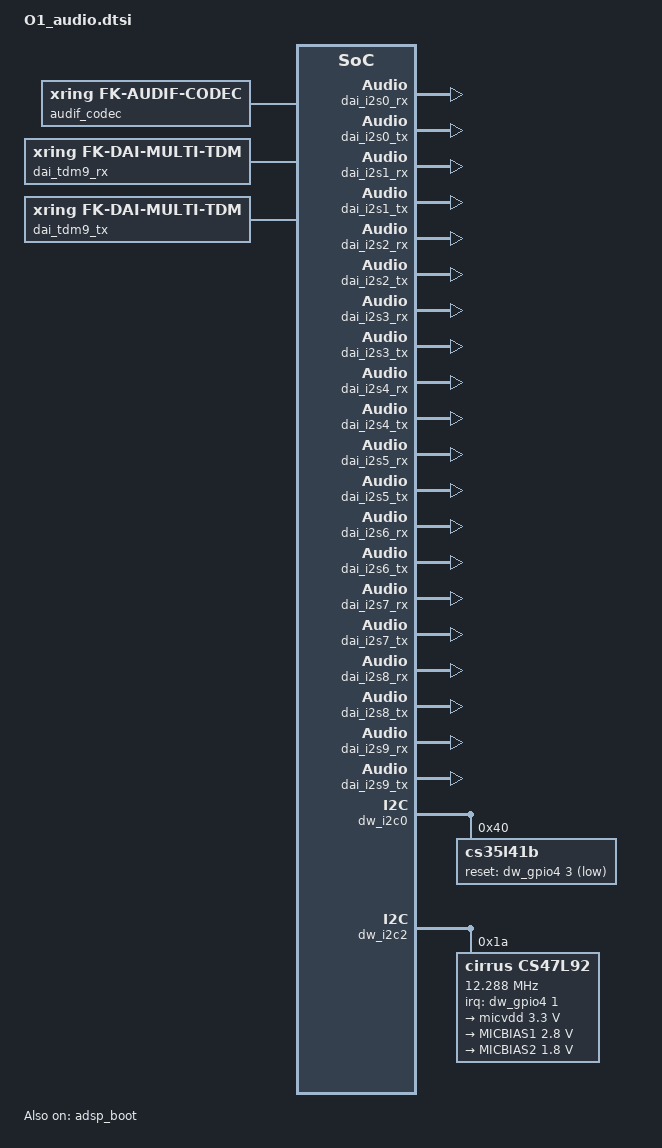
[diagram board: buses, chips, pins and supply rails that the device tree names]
// SPDX-License-Identifier: (GPL-2.0+ OR MIT)
/*
 * Copyright 2022 XiaoMi
 */
#include <dt-bindings/xring/platform-specific/asic/memory_layout.h>
#include <dt-bindings/interrupt-controller/arm-gic.h>
#include "O1_regulator.dtsi"
#include "O1_i2c.dtsi"
#include <dt-bindings/sound/madera.h>

&dw_i2c0 {
	cs35l41b: speaker@40 {
		status = "okay";
		compatible = "cs35l41b";
		reset-gpios = <&dw_gpio4 3 1>;
		reg = <0x40>;
		interrupt-parent = <&gic>;
		interrupts = <GIC_SPI 151 IRQ_TYPE_LEVEL_HIGH>;
	};
	/* BOT Smart PA */
	spk1: cs35l43@40 {
		status = "disabled";
		compatible = "cirrus,cs35l43";
		#sound-dai-cells = <0>;
		reg = <0x40>;
		reset-gpios = <&dw_gpio4 3 0>;
		irq-gpio = <&dw_gpio3 31 0x0>;
		#interrupt-parent = <&dw_gpio3>;
		#interrupts = <31 IRQ_TYPE_LEVEL_LOW>;
		VA-supply = <&mldo8>;
		sound-channel = <0>;
		sound-name-prefix = "B";
		cirrus,i2c-addr = <40>;
		cirrus,bst-ipk-ma = <4000>;
		cirrus,asp-sdout-hiz = <3>;
		cirrus,low-pwr-mode-standby = <1>;
		cirrus,vpbr-enable = <1>;
		cirrus,vpbr-rel-rate = <0>;
		cirrus,vpbr-wait = <0>;
		cirrus,vpbr-atk-rate = <0>;
		cirrus,vpbr-atk-vol = <0x5>;
		cirrus,vpbr-max-att = <0x3>;
		cirrus,vpbr-thld = <0x8>;
		cirrus,gpio2-src-sel = <2>;
	};
	/* TOP Smart PA */
	spk2: cs35l43@42 {
		status = "disabled";
		compatible = "cirrus,cs35l43";
		#sound-dai-cells = <0>;
		reg = <0x42>;
		reset-gpios = <&dw_gpio4 3 0>;
		irq-gpio = <&dw_gpio4 0 0x0>;
		#interrupt-parent = <&dw_gpio4>;
		#interrupts = <0 IRQ_TYPE_LEVEL_LOW>;
		VA-supply = <&mldo8>;
		sound-channel = <1>;
		sound-name-prefix = "T";
		cirrus,i2c-addr = <42>;
		cirrus,bst-ipk-ma = <4000>;
		cirrus,asp-sdout-hiz = <3>;
		cirrus,low-pwr-mode-standby = <1>;
		cirrus,vpbr-enable = <1>;
		cirrus,vpbr-rel-rate = <0>;
		cirrus,vpbr-wait = <0>;
		cirrus,vpbr-atk-rate = <0>;
		cirrus,vpbr-atk-vol = <0x5>;
		cirrus,vpbr-max-att = <0x3>;
		cirrus,vpbr-thld = <0x8>;
		cirrus,gpio2-src-sel = <2>;
    };
	spk3: cs35l43@41 {
		status = "disabled";
		compatible = "cirrus,cs35l43";
		#sound-dai-cells = <0>;
		reg = <0x41>;
		VA-supply = <&mldo8>;
	};
	spk4: cs35l43@43 {
		status = "disabled";
		compatible = "cirrus,cs35l43";
		#sound-dai-cells = <0>;
		reg = <0x43>;
		VA-supply = <&mldo8>;
	};
	cs35l45_1: cs35l45@30 {
		status = "disabled";
		compatible = "cirrus,cs35l45";
		#sound-dai-cells = <0>;
		reg = <0x30>;
		VA-supply = <&mldo7>;
	};
	cs35l45_2: cs35l45@31 {
		status = "disabled";
		compatible = "cirrus,cs35l45";
		#sound-dai-cells = <0>;
		reg = <0x31>;
		VA-supply = <&mldo7>;
	};

	/* haptic */
	haptic1: cs40l26@43 {
		status = "disabled";
		compatible = "cirrus,cs40l26a";
		reg = <0x43>;
		reset-gpios = <&dw_gpio3 24 1>;
		irq-gpio = <&dw_gpio1 14 0x0>;
		interrupt-parent = <&dw_gpio1>;
		interrupts = <14 IRQ_TYPE_LEVEL_LOW>;
		VA-supply = <&mldo8>;
		//cirrus,vbbr-enable;
		cirrus,vbbr-thld-uv = <273000>;
		cirrus,vbbr-max-att-db = <9>;
		cirrus,vbbr-atk-step = <1>;
		cirrus,vbbr-atk-rate = <2>;
		cirrus,vbbr-wait = <1>;
		cirrus,vbbr-rel-rate = <5>;

		//cirrus,vpbr-enable;
		cirrus,vpbr-thld-uv = <2639000>;
		cirrus,vpbr-max-att-db = <9>;
		cirrus,vpbr-atk-step = <1>;
		cirrus,vpbr-atk-rate = <2>;
		cirrus,vpbr-wait = <1>;
		cirrus,vpbr-rel-rate = <5>;

		//cirrus,bst-dcm-en;

		cirrus,bst-ipk-microamp = <4500000>;
	};
};

&dw_i2c1 {
	spk5: cs35l43@40 {
		status = "disabled";
		compatible = "cirrus,cs35l43";
		#sound-dai-cells = <0>;
		reg = <0x40>;
		VA-supply = <&mldo8>;
	};
	spk6: cs35l43@42 {
		status = "disabled";
		compatible = "cirrus,cs35l43";
		#sound-dai-cells = <0>;
		reg = <0x42>;
		VA-supply = <&mldo8>;
	};
	spk7: cs35l43@41 {
		status = "disabled";
		compatible = "cirrus,cs35l43";
		#sound-dai-cells = <0>;
		reg = <0x41>;
		VA-supply = <&mldo8>;
	};
	spk8: cs35l43@43 {
		status = "disabled";
		compatible = "cirrus,cs35l43";
		#sound-dai-cells = <0>;
		reg = <0x43>;
		VA-supply = <&mldo8>;
	};
	cs35l45_3: cs35l45@32 {
		status = "disabled";
		compatible = "cirrus,cs35l45";
		#sound-dai-cells = <0>;
		reg = <0x32>;
		VA-supply = <&mldo7>;
	};
	cs35l45_4: cs35l45@33 {
		status = "disabled";
		compatible = "cirrus,cs35l45";
		#sound-dai-cells = <0>;
		reg = <0x33>;
		VA-supply = <&mldo7>;
	};
};

&dw_i2c2 {
	cs47l92: codec@1a {
		status = "okay";
		compatible = "cirrus,cs47l92";
		reg = <0x1a>;
		#address-cells = <1>;
		#size-cells = <0>;

		//codec-reset-gpios = <&dw_gpio4 4 1>;
		interrupt-parent = <&dw_gpio4>;
		interrupts = <1 IRQ_TYPE_LEVEL_HIGH>;
		interrupt-controller;
		#interrupt-cells = <1>;

		clock-frequency = <12288000>, <32764>;
		clocks = <&xr_clk XR_CLK_CODEC>,
			<&xr_clk XR_CLK_32K_O3>;
		clock-names = "mclk1", "mclk2";

		AVDD-supply = <1>;
		DBVDD1-supply = <1>;
		DCVDD-supply = <1>;

		pinctrl-names = "default";
		pinctrl-0 = <&pinsettings>;
		pinsettings: pin-settings {
			aif1-pins {
				groups = "aif1";
				function = "aif1";
				bias-bus-hold;
			};
		};

		micvdd {
			regulator-min-microvolt = <3300000>;
			regulator-max-microvolt = <3300000>;
		};
		MICBIAS1 {
			cirrus,ext-cap = <0>;
			regulator-active-discharge = <1>;
			regulator-min-microvolt = <2800000>;
			regulator-max-microvolt = <2800000>;
		};
		MICBIAS2 {
			cirrus,ext-cap = <0>;
			regulator-active-discharge = <1>;
			regulator-min-microvolt = <1800000>;
			regulator-max-microvolt = <1800000>;
		};

		cirrus,accdet {
			#address-cells = <1>;
			#size-cells = <0>;
			acc@1 {
				reg = <1>;

				cirrus,micd-bias-start-time = <0x1>;
				cirrus,micd-pol-gpios = <0>;
				cirrus,micd-rate = <0x7>;
				cirrus,micd-detect-debounce-ms = <300>;
				cirrus,micd-clamp-mode = <0x0>;
				//cirrus,jd-use-jd2 = <0>;
				cirrus,hs-mic = <1>;

				cirrus,init-delay-ms = <30>;
				cirrus,micd-dbtime = <0x1>;
				cirrus,micd-timeout-ms = <1000>;
				cirrus,micd-force-micbias;
				cirrus,hpdet-short-circuit-imp = <2>;
				cirrus,micd-ranges = <
						116 226
						173 582
						321 115
						752 114
						1257 217
				>;
				cirrus,micd-software-compare;
				cirrus,micd-open-circuit-declare = <1>;
				//cirrus,jd-wake-time = <5000>;

				cirrus,hpdet-ext-res = <0>;

				/*MICDET1|MICDET2/HPOUTFB2|MICBIAS2A|micd-poll-gpio pin= NONE|HPGND=MICDET2*/
				cirrus,micd-configs = <0 1 4 0 1>;
				/*HPOUT1L|HPOUT1R*/
				cirrus,hpd-pins = <0 4 1 4>;
			};
		};
	};
};

&dw_i2c4 {
	/* haptic */
	haptic2: cs40l26@43 {
		status = "disabled";
		compatible = "cirrus,cs40l26a";
		reg = <0x43>;
		VA-supply = <&mldo8>;

	};
};

/ {
	pcm0: xring,fk-pcm {
		compatible = "xring,fk-pcm-dsp";
		xring,fk-pcm-dsp-id = <0>;
	};

	pcm1: xring,fk-fast-pcm {
		compatible = "xring,fk-pcm-dsp";
		xring,fk-pcm-dsp-id = <1>;
		xring,fk-fast-pcm;
	};

	pcm2: xring,fk-ultra-pcm {
		compatible = "xring,fk-pcm-dsp";
		xring,fk-pcm-dsp-id = <2>;
		xring,fk-ultra-pcm;
	};

	direct:xring,fk-direct-pcm {
		compatible = "xring,fk-pcm-dsp";
		xring,fk-pcm-dsp-id = <3>;
		xring,fk-direct-pcm;
	};

	voice: xring,fk-voice-dsp{
		compatible = "xring,fk-voice-dsp";
	};

	incall: xring,fk-incall-dsp{
		compatible = "xring,fk-incall-dsp";
	};

	loopback: xring,fk-loopback-dsp{
		compatible = "xring,fk-loopback-dsp";
	};

	routing: xring,fk-pcm-routing {
		compatible = "xring,fk-pcm-routing";
	};

	compress: xring,fk-compress {
		compatible = "xring,fk-compress-dsp";
	};

	voip: xring,fk-voip {
		compatible = "xring,fk-voip-dsp";
	};

	haptic: xring,fk-haptic {
		compatible = "xring,fk-haptic";
	};

	spatial: xring,fk-spatial {
		compatible = "xring,fk-spatial";
	};

	karaoke: xring,fk-karaoke {
		compatible = "xring,fk-karaoke";
	};

	hf: xring,fk-hf-dsp {
		compatible = "xring,fk-hf-dsp";
	};

	lsm: xring,fk-lsm {
		compatible = "xring,fk-lsm-dsp";
	};

	asr: xring,fk-asr {
		compatible = "xring,fk-pcm-dsp";
		xring,fk-pcm-dsp-id = <4>;
	};

	mmap: xring,fk-mmap {
		compatible = "xring,fk-mmap-dsp";
	};
	audif_codec: xring,fk-audif-codec {
		compatible = "xring,fk-audif-codec";
	};

	xring,fk-dai-fe {
		compatible = "xring,fk-dai-fe";
	};

	fk_dai_i2s: xring,fk-dai-i2s {
		compatible = "xring,fk-dai-i2s";
		dai_i2s0_rx: xring,fk-dai-multi-i2s-i2s0-rx {
			compatible = "xring,fk-dai-multi-i2s";
			xring,fk-dai-multi-i2s-dev-id = <0>;
		};
		dai_i2s0_tx: xring,fk-dai-multi-i2s-i2s0-tx {
			compatible = "xring,fk-dai-multi-i2s";
			xring,fk-dai-multi-i2s-dev-id = <1>;
		};
		dai_i2s1_rx: xring,fk-dai-multi-i2s-i2s1-rx {
			compatible = "xring,fk-dai-multi-i2s";
			xring,fk-dai-multi-i2s-dev-id = <2>;
		};
		dai_i2s1_tx: xring,fk-dai-multi-i2s-i2s1-tx {
			compatible = "xring,fk-dai-multi-i2s";
			xring,fk-dai-multi-i2s-dev-id = <3>;
		};
		dai_i2s2_rx: xring,fk-dai-multi-i2s-i2s2-rx {
			compatible = "xring,fk-dai-multi-i2s";
			xring,fk-dai-multi-i2s-dev-id = <4>;
		};
		dai_i2s2_tx: xring,fk-dai-multi-i2s-i2s2-tx {
			compatible = "xring,fk-dai-multi-i2s";
			xring,fk-dai-multi-i2s-dev-id = <5>;
		};
		dai_i2s3_rx: xring,fk-dai-multi-i2s-i2s3-rx {
			compatible = "xring,fk-dai-multi-i2s";
			xring,fk-dai-multi-i2s-dev-id = <6>;
		};
		dai_i2s3_tx: xring,fk-dai-multi-i2s-i2s3-tx {
			compatible = "xring,fk-dai-multi-i2s";
			xring,fk-dai-multi-i2s-dev-id = <7>;
		};
		dai_i2s4_rx: xring,fk-dai-multi-i2s-i2s4-rx {
			compatible = "xring,fk-dai-multi-i2s";
			xring,fk-dai-multi-i2s-dev-id = <8>;
		};
		dai_i2s4_tx: xring,fk-dai-multi-i2s-i2s4-tx {
			compatible = "xring,fk-dai-multi-i2s";
			xring,fk-dai-multi-i2s-dev-id = <9>;
		};
		dai_i2s5_rx: xring,fk-dai-multi-i2s-i2s5-rx {
			compatible = "xring,fk-dai-multi-i2s";
			xring,fk-dai-multi-i2s-dev-id = <10>;
		};
		dai_i2s5_tx: xring,fk-dai-multi-i2s-i2s5-tx {
			compatible = "xring,fk-dai-multi-i2s";
			xring,fk-dai-multi-i2s-dev-id = <11>;
		};
		dai_i2s6_rx: xring,fk-dai-multi-i2s-i2s6-rx {
			compatible = "xring,fk-dai-multi-i2s";
			xring,fk-dai-multi-i2s-dev-id = <12>;
		};
		dai_i2s6_tx: xring,fk-dai-multi-i2s-i2s6-tx {
			compatible = "xring,fk-dai-multi-i2s";
			xring,fk-dai-multi-i2s-dev-id = <13>;
		};
		dai_i2s7_rx: xring,fk-dai-multi-i2s-i2s7-rx {
			compatible = "xring,fk-dai-multi-i2s";
			xring,fk-dai-multi-i2s-dev-id = <14>;
		};
		dai_i2s7_tx: xring,fk-dai-multi-i2s-i2s7-tx {
			compatible = "xring,fk-dai-multi-i2s";
			xring,fk-dai-multi-i2s-dev-id = <15>;
		};
		dai_i2s8_rx: xring,fk-dai-multi-i2s-i2s8-rx {
			compatible = "xring,fk-dai-multi-i2s";
			xring,fk-dai-multi-i2s-dev-id = <16>;
		};
		dai_i2s8_tx: xring,fk-dai-multi-i2s-i2s8-tx {
			compatible = "xring,fk-dai-multi-i2s";
			xring,fk-dai-multi-i2s-dev-id = <17>;
		};
		dai_i2s9_rx: xring,fk-dai-multi-i2s-i2s9-rx {
			compatible = "xring,fk-dai-multi-i2s";
			xring,fk-dai-multi-i2s-dev-id = <18>;
		};
		dai_i2s9_tx: xring,fk-dai-multi-i2s-i2s9-tx {
			compatible = "xring,fk-dai-multi-i2s";
			xring,fk-dai-multi-i2s-dev-id = <19>;
		};
	};

	vad_i2s: xring,fk-dai-vad-i2s-tx {
		compatible = "xring,fk-dai-vad-i2s";
	};

	multi_i2s0: xring,fk-dai-mi2s0-rx {
		compatible = "xring,fk-dai-mi2s0";
	};

	dai_tdm0_rx: xring,fk-dai-tdm0-rx {
		compatible = "xring,fk-dai-multi-tdm";
		xring,fk-dai-tdm-dev-id = <0>;
	};
	dai_tdm0_tx: xring,fk-dai-tdm0-tx {
		compatible = "xring,fk-dai-multi-tdm";
		xring,fk-dai-tdm-dev-id = <1>;
	};
	dai_tdm1_rx: xring,fk-dai-tdm1-rx {
		compatible = "xring,fk-dai-multi-tdm";
		xring,fk-dai-tdm-dev-id = <2>;
	};
	dai_tdm1_tx: xring,fk-dai-tdm1-tx {
		compatible = "xring,fk-dai-multi-tdm";
		xring,fk-dai-tdm-dev-id = <3>;
	};
	dai_tdm2_rx: xring,fk-dai-tdm2-rx {
		compatible = "xring,fk-dai-multi-tdm";
		xring,fk-dai-tdm-dev-id = <4>;
	};
	dai_tdm2_tx: xring,fk-dai-tdm2-tx {
		compatible = "xring,fk-dai-multi-tdm";
		xring,fk-dai-tdm-dev-id = <5>;
	};
	dai_tdm3_rx: xring,fk-dai-tdm3-rx {
		compatible = "xring,fk-dai-multi-tdm";
		xring,fk-dai-tdm-dev-id = <6>;
	};
	dai_tdm3_tx: xring,fk-dai-tdm3-tx {
		compatible = "xring,fk-dai-multi-tdm";
		xring,fk-dai-tdm-dev-id = <7>;
	};
	dai_tdm4_rx: xring,fk-dai-tdm4-rx {
		compatible = "xring,fk-dai-multi-tdm";
		xring,fk-dai-tdm-dev-id = <8>;
	};
	dai_tdm4_tx: xring,fk-dai-tdm4-tx {
		compatible = "xring,fk-dai-multi-tdm";
		xring,fk-dai-tdm-dev-id = <9>;
	};
	dai_tdm5_rx: xring,fk-dai-tdm5-rx {
		compatible = "xring,fk-dai-multi-tdm";
		xring,fk-dai-tdm-dev-id = <10>;
	};
	dai_tdm5_tx: xring,fk-dai-tdm5-tx {
		compatible = "xring,fk-dai-multi-tdm";
		xring,fk-dai-tdm-dev-id = <11>;
	};
	dai_tdm6_rx: xring,fk-dai-tdm6-rx {
		compatible = "xring,fk-dai-multi-tdm";
		xring,fk-dai-tdm-dev-id = <12>;
	};
	dai_tdm6_tx: xring,fk-dai-tdm6-tx {
		compatible = "xring,fk-dai-multi-tdm";
		xring,fk-dai-tdm-dev-id = <13>;
	};
	dai_tdm7_rx: xring,fk-dai-tdm7-rx {
		compatible = "xring,fk-dai-multi-tdm";
		xring,fk-dai-tdm-dev-id = <14>;
	};
	dai_tdm7_tx: xring,fk-dai-tdm7-tx {
		compatible = "xring,fk-dai-multi-tdm";
		xring,fk-dai-tdm-dev-id = <15>;
	};
	dai_tdm8_rx: xring,fk-dai-tdm8-rx {
		compatible = "xring,fk-dai-multi-tdm";
		xring,fk-dai-tdm-dev-id = <16>;
	};
	dai_tdm8_tx: xring,fk-dai-tdm8-tx {
		compatible = "xring,fk-dai-multi-tdm";
		xring,fk-dai-tdm-dev-id = <17>;
	};
	dai_tdm9_rx: xring,fk-dai-tdm9-rx {
		compatible = "xring,fk-dai-multi-tdm";
		xring,fk-dai-tdm-dev-id = <18>;
	};
	dai_tdm9_tx: xring,fk-dai-tdm9-tx {
		compatible = "xring,fk-dai-multi-tdm";
		xring,fk-dai-tdm-dev-id = <19>;
	};
	dai_tdm7_8_rx: xring,fk-dai-tdm7_8-rx {
		compatible = "xring,fk-dai-multi-tdm";
		xring,fk-dai-tdm-dev-id = <20>;
	};
	dai_tdm7_8_tx: xring,fk-dai-tdm7_8-tx {
		compatible = "xring,fk-dai-multi-tdm";
		xring,fk-dai-tdm-dev-id = <21>;
	};

	dai_audio_usb_rx: xring,fk-dai-audio-usb-rx {
		compatible = "xring,fk-dai-audio-usb";
		xring,fk-dai-audio-usb-id = <0>;
	};

	dai_audio_usb_tx: xring,fk-dai-audio-usb-tx {
		compatible = "xring,fk-dai-audio-usb";
		xring,fk-dai-audio-usb-id = <1>;
	};

	xring_snd: sound {
		compatible = "xring,xr-asoc-snd";
		xring,model = "xr-snd-card";
		xring,i2s-audio-intf = <1>;
		xring,audio-usb-intf = <1>;
		xring,codec-fmt = <1>;
		xring,vad-i2s-intf = <1>;
		xring,mi2s0-intf = <1>;
		xring,tdm-audio-intf = <1>;

		asoc-platform = <&pcm0> , <&pcm1>, <&pcm2>, <&voice>, <&loopback>, <&routing>, <&compress>, <&voip>,
			<&haptic>, <&lsm>, <&direct>, <&spatial>, <&mmap>, <&karaoke>, <&incall>, <&hf>, <&asr>;
		asoc-platform-names = "fk-pcm-dsp.0", "fk-pcm-dsp.1", "fk-pcm-dsp.2", "fk-voice-dsp", "fk-loopback-dsp",
			"fk-pcm-routing", "fk-compress-dsp", "fk-voip-dsp", "fk-haptic", "fk-lsm-dsp", "fk-pcm-dsp.3",
			"fk-spatial", "fk-mmap-dsp", "fk-karaoke", "fk-incall-dsp", "fk-hf-dsp", "fk-pcm-dsp.4";
		asoc-cpu = <&dai_i2s0_rx>, <&dai_i2s0_tx>, <&dai_i2s1_rx>, <&dai_i2s1_tx>,
			<&dai_i2s2_rx>, <&dai_i2s2_tx>, <&dai_i2s3_rx>, <&dai_i2s3_tx>, <&dai_i2s4_rx>, <&dai_i2s4_tx>,
			<&dai_i2s5_rx>, <&dai_i2s5_tx>, <&dai_i2s6_rx>, <&dai_i2s6_tx>, <&dai_i2s7_rx>, <&dai_i2s7_tx>,
			<&dai_i2s8_rx>, <&dai_i2s8_tx>, <&dai_i2s9_rx>, <&dai_i2s9_tx>, <&vad_i2s>, <&multi_i2s0>,
			<&dai_tdm0_rx>, <&dai_tdm0_tx>, <&dai_tdm1_rx>, <&dai_tdm1_tx>, <&dai_tdm2_rx>, <&dai_tdm2_tx>,
			<&dai_tdm3_rx>, <&dai_tdm3_tx>, <&dai_tdm4_rx>, <&dai_tdm4_tx>, <&dai_tdm5_rx>, <&dai_tdm5_tx>,
			<&dai_tdm6_rx>, <&dai_tdm6_tx>, <&dai_tdm7_rx>, <&dai_tdm7_tx>, <&dai_tdm8_rx>, <&dai_tdm8_tx>,
			<&dai_tdm9_rx>, <&dai_tdm9_tx>, <&dai_tdm7_8_rx>, <&dai_tdm7_8_tx>, <&dai_audio_usb_rx>, <&dai_audio_usb_tx>;
		asoc-cpu-names = "fk-dai-audif-i2s.0", "fk-dai-audif-i2s.1", "fk-dai-audif-i2s.2", "fk-dai-audif-i2s.3", "fk-dai-audif-i2s.4",
			"fk-dai-audif-i2s.5", "fk-dai-audif-i2s.6", "fk-dai-audif-i2s.7", "fk-dai-audif-i2s.8", "fk-dai-audif-i2s.9",
			"fk-dai-adsp-i2s.10", "fk-dai-adsp-i2s.11", "fk-dai-adsp-i2s.12", "fk-dai-adsp-i2s.13", "fk-dai-adsp-i2s.14",
			"fk-dai-adsp-i2s.15", "fk-dai-adsp-i2s.16", "fk-dai-adsp-i2s.17", "fk-dai-adsp-i2s.18", "fk-dai-adsp-i2s.19",
			"fk-dai-vad-i2s", "fk-dai-mi2s0",
			"fk-dai-audio-tdm.0", "fk-dai-audio-tdm.1", "fk-dai-audio-tdm.2", "fk-dai-audio-tdm.3", "fk-dai-audio-tdm.4",
			"fk-dai-audio-tdm.5", "fk-dai-audio-tdm.6", "fk-dai-audio-tdm.7", "fk-dai-audio-tdm.8", "fk-dai-audio-tdm.9",
			"fk-dai-audio-tdm.10", "fk-dai-audio-tdm.11", "fk-dai-audio-tdm.12", "fk-dai-audio-tdm.13", "fk-dai-audio-tdm.14",
			"fk-dai-audio-tdm.15", "fk-dai-audio-tdm.16", "fk-dai-audio-tdm.17", "fk-dai-audio-tdm.18", "fk-dai-audio-tdm.19",
			"fk-dai-audio-tdm.20", "fk-dai-audio-tdm.21", "fk-dai-audio-usb-rx", "fk-dai-audio-usb-tx";
		asoc-codec = <&audif_codec>, <&cs47l92>, <&cs35l41b>, <&spk1>, <&spk2>, <&spk3>, <&spk4>, <&spk5>, <&spk6>,  <&spk7>,
			<&spk8>, <&cs35l45_1>, <&cs35l45_2>, <&cs35l45_3>, <&cs35l45_4>, <&haptic1>, <&haptic2>;
		asoc-codec-names = "fk-audif-codec.1", "xring-codec", "cs35l41b", "bot-pa", "top-pa", "speaker3", "speaker4", "speaker5",
		"speaker6", "speaker7", "speaker8", "cs35l45_1", "cs35l45_2", "cs35l45_3", "cs35l45_4", "haptic1", "haptic2";
	};

	fk_audio_memory: xring,fk-audio-cma {
		compatible = "xring,fk-audio-cma";
	};

	fk_audio_pinctrl: xring,fk-audio-pinctrl {
		status = "okay";
		compatible = "xring,fk-audio-pinctrl";
	};

	audio_usb: xring,fk-audio-usb {
		compatible = "xring,fk-audio-usb";
	};

	fk_audio_tools: xring,fk-audio-tool {
		compatible = "xring,fk-audio-tool";
	};

	audif: xring,xr-audif@E1310000 {
		compatible = "xring,xr-audif";
		reg = <0x00 0xE1310000 0x00 0x1000>;
		interrupts = <GIC_SPI 346 IRQ_TYPE_LEVEL_HIGH>,
					 <GIC_SPI 347 IRQ_TYPE_LEVEL_HIGH>;
	};

	adsp_wdt: xring,adsp-wdt {
		status = "okay";
		compatible = "xring,adsp-wdt";
		interrupts = <GIC_SPI 348 IRQ_TYPE_LEVEL_HIGH>;
	};

	adsp_boot: xring,adsp-boot {
		status = "okay";
		compatible = "xring,aduio-adsp-boot";
		reg = <0x0 0x41680000 0X0 0xa00000>,
			  <0x0 0x47D80000 0X0 0x1400000>;
		regulator_asp-supply = <&asp>;
		device-type = <0>;
	};
};
